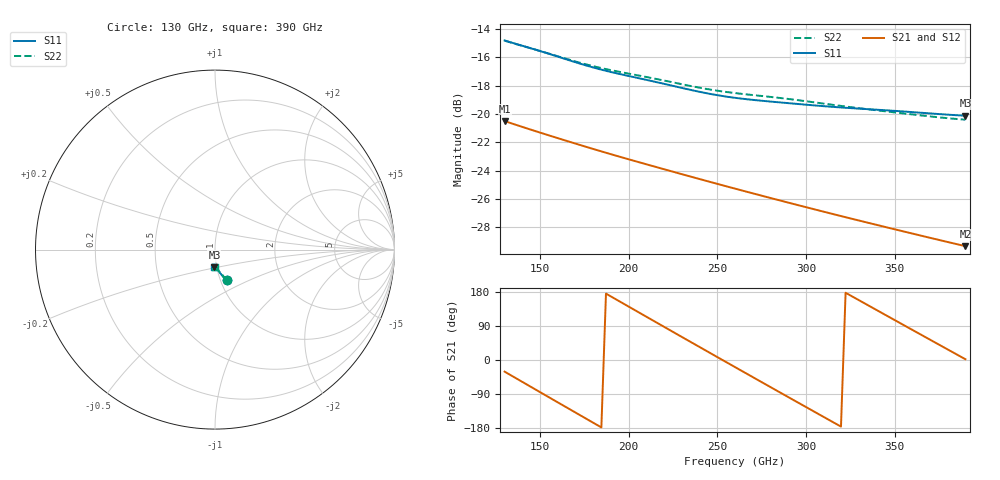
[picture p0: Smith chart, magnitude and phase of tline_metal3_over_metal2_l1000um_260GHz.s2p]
#  GHZ S DB R 50
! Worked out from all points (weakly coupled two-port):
!   101 points, 130 GHz to 390 GHz, reference 50 ohm
!   highest |S21| = -20.50 dB at 130 GHz (marker M1); lowest = -29.3 dB at 390 GHz (marker M2)
!   lowest |S11| = -20.1 dB at 390 GHz (marker M3), VSWR 1.22, Z = 48.7 - j9.7 ohm
!   |S11| at or under -10 dB: start of sweep to end of sweep
!   |S22| runs from -20.4 to -14.8 dB; largest |S21 - S12| = 1.2e-13
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130  -14.81 -68.9  -20.50 -30.7  -20.50 -30.7  -14.83 -68.1
140.4  -15.20 -70.2  -20.93 -58.9  -20.93 -58.9  -15.21 -69.2
150.8  -15.59 -71.8  -21.35 -87.0  -21.35 -87.0  -15.59 -70.6
161.2  -16.00 -73.3  -21.75 -115.0  -21.75 -115.0  -15.97 -72.0
174.2  -16.51 -74.8  -22.25 -150.0  -22.25 -150.0  -16.44 -73.2
182  -16.79 -75.5  -22.54 -170.9  -22.54 -170.9  -16.69 -73.9
192.4  -17.11 -76.4  -22.93 161.2  -22.93 161.2  -16.97 -74.7
205.4  -17.47 -77.6  -23.39 126.5  -23.39 126.5  -17.28 -76.0
218.4  -17.83 -78.9  -23.84 91.8  -23.84 91.8  -17.60 -77.4
228.8  -18.13 -79.8  -24.21 64.1  -24.21 64.1  -17.87 -78.4
239.2  -18.42 -80.5  -24.56 36.4  -24.56 36.4  -18.13 -79.2
249.6  -18.66 -80.9  -24.92 8.8  -24.92 8.8  -18.35 -79.9
260  -18.86 -81.2  -25.27 -18.7  -25.27 -18.7  -18.53 -80.5
270.4  -19.01 -81.6  -25.61 -46.1  -25.61 -46.1  -18.67 -81.3
280.8  -19.13 -82.2  -25.95 -73.5  -25.95 -73.5  -18.81 -82.3
291.2  -19.25 -83.0  -26.29 -100.9  -26.29 -100.9  -18.96 -83.3
304.2  -19.39 -83.9  -26.71 -135.0  -26.71 -135.0  -19.17 -84.7
314.6  -19.49 -84.8  -27.04 -162.2  -27.04 -162.2  -19.35 -85.6
325  -19.58 -85.6  -27.36 170.7  -27.36 170.7  -19.52 -86.5
348.4  -19.77 -87.8  -28.08 109.8  -28.08 109.8  -19.87 -88.2
366.6  -19.93 -89.6  -28.63 62.5  -28.63 62.5  -20.13 -89.3
390  -20.13 -91.8  -29.33 2.0  -29.33 2.0  -20.40 -90.2
